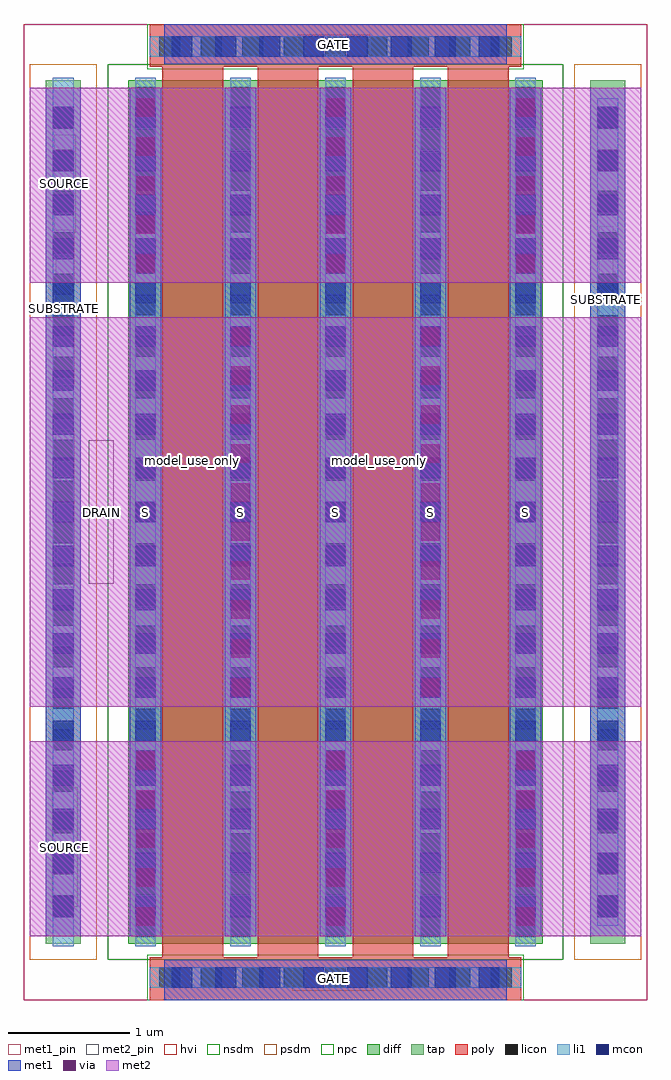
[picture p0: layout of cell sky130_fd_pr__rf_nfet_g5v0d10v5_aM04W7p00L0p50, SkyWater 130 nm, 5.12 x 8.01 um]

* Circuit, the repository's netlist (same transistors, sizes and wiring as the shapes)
* Copyright 2020 The SkyWater PDK Authors
*
* Licensed under the Apache License, Version 2.0 (the "License");
* you may not use this file except in compliance with the License.
* You may obtain a copy of the License at
*
*     https://www.apache.org/licenses/LICENSE-2.0
*
* Unless required by applicable law or agreed to in writing, software
* distributed under the License is distributed on an "AS IS" BASIS,
* WITHOUT WARRANTIES OR CONDITIONS OF ANY KIND, either express or implied.
* See the License for the specific language governing permissions and
* limitations under the License.
*
* SPDX-License-Identifier: Apache-2.0


.subckt sky130_fd_pr__rf_nfet_g5v0d10v5_aM04W7p00L0p50 DRAIN GATE SOURCE SUBSTRATE
X0 DRAIN GATE SOURCE SUBSTRATE sky130_fd_pr__nfet_g5v0d10v5 w=7.09e+06u l=500000u
X1 DRAIN GATE SOURCE SUBSTRATE sky130_fd_pr__nfet_g5v0d10v5 w=7.09e+06u l=500000u
X2 SOURCE GATE DRAIN SUBSTRATE sky130_fd_pr__nfet_g5v0d10v5 w=7.09e+06u l=500000u
X3 SOURCE GATE DRAIN SUBSTRATE sky130_fd_pr__nfet_g5v0d10v5 w=7.09e+06u l=500000u
.ends

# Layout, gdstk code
import gdstk
lib = gdstk.Library(unit=1e-6, precision=1e-09)
def R(c, l, rs):  # rectangles x0, y0, x1, y1
    for r in rs: c.add(gdstk.rectangle(r[:2], r[2:], *l))
def A(c, l, x, y, w, h, nx, ny, dx, dy):  # array of equal rectangles
    R(c, l, [(x+i*dx, y+j*dy, x+i*dx+w, y+j*dy+h) for i in range(nx) for j in range(ny)])
diff = (65, 20)
tap = (65, 44)
poly = (66, 20)
licon = (66, 44)
li1 = (67, 20)
mcon = (67, 44)
met1_pin = (68, 16)
met1 = (68, 20)
via = (68, 44)
met2_pin = (69, 16)
met2 = (69, 20)
hvi = (75, 20)
nsdm = (93, 44)
psdm = (94, 20)
npc = (95, 20)

sky130_fd_pr__rf_nfet_g5 = lib.new_cell('sky130_fd_pr__rf_nfet_g5v0d10v5_aM04W7p00L0p50')
R(sky130_fd_pr__rf_nfet_g5, diff, [(0.86,0.46,4.26,7.55)])
R(sky130_fd_pr__rf_nfet_g5, tap, [(0.18,0.46,0.47,7.55), (4.65,0.46,4.94,7.55)])
A(sky130_fd_pr__rf_nfet_g5, poly, 1.14, 0.35, 0.5, 7.31, 4, 1, 0.78, 0)
R(sky130_fd_pr__rf_nfet_g5, poly, [(1.035,0,4.085,0.35), (1.035,7.66,4.085,8.01)])
A(sky130_fd_pr__rf_nfet_g5, licon, 1.115, 0.1, 0.17, 0.17, 9, 2, 0.34, 7.64)
A(sky130_fd_pr__rf_nfet_g5, licon, 0.915, 0.52, 0.17, 0.17, 5, 21, 0.78, 0.34)
A(sky130_fd_pr__rf_nfet_g5, licon, 0.24, 0.69, 0.17, 0.17, 1, 20, 0, 0.34)
A(sky130_fd_pr__rf_nfet_g5, licon, 4.71, 0.69, 0.17, 0.17, 1, 20, 0, 0.34)
A(sky130_fd_pr__rf_nfet_g5, li1, 0.915, 0.44, 0.17, 7.13, 5, 1, 0.78, 0)
A(sky130_fd_pr__rf_nfet_g5, li1, 0.915, 2.66, 0.17, 2.69, 5, 1, 0.78, 0)
R(sky130_fd_pr__rf_nfet_g5, li1, [(1.035,0.1,4.085,0.27), (1.215,0.1,3.905,0.27), (0.24,0.44,0.41,7.57), (0.24,0.61,0.41,7.4), (4.71,0.61,4.88,7.4), (4.71,0.61,4.88,7.4), (0.24,2.65,0.41,5.36), (4.71,2.65,4.88,5.36), (4.71,2.65,4.88,5.36), (0.24,2.66,0.41,5.35), (4.71,2.66,4.88,5.35), (1.035,7.74,4.085,7.91), (1.215,7.74,3.905,7.91)])
A(sky130_fd_pr__rf_nfet_g5, mcon, 1.215, 0.1, 0.17, 0.17, 8, 2, 0.36, 7.64)
A(sky130_fd_pr__rf_nfet_g5, mcon, 0.24, 0.68, 0.17, 0.17, 1, 19, 0, 0.36)
A(sky130_fd_pr__rf_nfet_g5, mcon, 0.915, 0.68, 0.17, 0.17, 5, 19, 0.78, 0.36)
A(sky130_fd_pr__rf_nfet_g5, mcon, 4.71, 0.68, 0.17, 0.17, 1, 19, 0, 0.36)
R(sky130_fd_pr__rf_nfet_g5, met1_pin, [(2.205,0.075,2.875,0.27), (2.205,0.075,2.875,0.27), (0.265,3.385,0.415,4.67), (4.72,3.49,4.84,4.7), (0.265,5.035,0.415,6.32), (4.72,5.14,4.84,6.35), (2.245,7.755,2.845,7.92), (2.245,7.755,2.845,7.92)])
A(sky130_fd_pr__rf_nfet_g5, met1, 0.87, 0.525, 0.26, 1.6, 3, 2, 1.56, 5.36)
A(sky130_fd_pr__rf_nfet_g5, met1, 0.87, 0.525, 0.26, 6.96, 5, 1, 0.78, 0)
R(sky130_fd_pr__rf_nfet_g5, met1, [(1.155,0,3.965,0.33), (0.18,0.525,0.47,7.485), (4.65,0.525,4.94,7.485), (1.155,7.68,3.965,8.01)])
A(sky130_fd_pr__rf_nfet_g5, via, 0.925, 0.61, 0.15, 0.15, 3, 5, 1.56, 0.32)
A(sky130_fd_pr__rf_nfet_g5, via, 1.705, 2.49, 0.15, 0.15, 1, 10, 0, 0.32)
A(sky130_fd_pr__rf_nfet_g5, via, 3.265, 2.49, 0.15, 0.15, 1, 10, 0, 0.32)
A(sky130_fd_pr__rf_nfet_g5, via, 0.925, 5.97, 0.15, 0.15, 3, 5, 1.56, 0.32)
R(sky130_fd_pr__rf_nfet_g5, met2_pin, [(0.235,0.765,0.445,1.745), (0.235,0.765,0.445,1.745), (0.535,3.415,0.74,4.595), (0.535,3.415,0.74,4.595), (0.25,6.295,0.43,7.1), (0.25,6.295,0.43,7.1)])
A(sky130_fd_pr__rf_nfet_g5, met2, 0.87, 0.525, 0.26, 1.6, 3, 2, 1.56, 5.36)
R(sky130_fd_pr__rf_nfet_g5, met2, [(0.05,0.525,5.07,2.125), (0.05,2.405,5.07,5.605), (0.05,5.885,5.07,7.485)])
R(sky130_fd_pr__rf_nfet_g5, hvi, [(0,0,5.12,8.01)])
R(sky130_fd_pr__rf_nfet_g5, nsdm, [(0.69,0.33,4.43,7.68)])
R(sky130_fd_pr__rf_nfet_g5, psdm, [(0.05,0.33,0.6,7.68), (4.52,0.33,5.07,7.68)])
R(sky130_fd_pr__rf_nfet_g5, npc, [(1.015,0,4.105,0.37), (1.015,7.64,4.105,8.01)])
sky130_fd_pr__rf_nfet_g5.add(gdstk.Label('S', (4.12,4.005), layer=83, texttype=44))
sky130_fd_pr__rf_nfet_g5.add(gdstk.Label('S', (3.34,4.005), layer=83, texttype=44))
sky130_fd_pr__rf_nfet_g5.add(gdstk.Label('D', (3.34,4.005), layer=83, texttype=44))
sky130_fd_pr__rf_nfet_g5.add(gdstk.Label('S', (2.56,4.005), layer=83, texttype=44))
sky130_fd_pr__rf_nfet_g5.add(gdstk.Label('S', (2.56,4.005), layer=83, texttype=44))
sky130_fd_pr__rf_nfet_g5.add(gdstk.Label('S', (1.78,4.005), layer=83, texttype=44))
sky130_fd_pr__rf_nfet_g5.add(gdstk.Label('D', (1.78,4.005), layer=83, texttype=44))
sky130_fd_pr__rf_nfet_g5.add(gdstk.Label('S', (1,4.005), layer=83, texttype=44))
sky130_fd_pr__rf_nfet_g5.add(gdstk.Label('S', (1,4.005), layer=83, texttype=44))
sky130_fd_pr__rf_nfet_g5.add(gdstk.Label('model_use_only', (1.385,4.43), layer=66, texttype=83))
sky130_fd_pr__rf_nfet_g5.add(gdstk.Label('model_use_only', (2.16,4.475), layer=66, texttype=83))
sky130_fd_pr__rf_nfet_g5.add(gdstk.Label('model_use_only', (2.92,4.43), layer=66, texttype=83))
sky130_fd_pr__rf_nfet_g5.add(gdstk.Label('model_use_only', (3.695,4.49), layer=66, texttype=83))
sky130_fd_pr__rf_nfet_g5.add(gdstk.Label('GATE', (2.545,7.838), layer=68, texttype=5))
sky130_fd_pr__rf_nfet_g5.add(gdstk.Label('GATE', (2.54,0.173), layer=68, texttype=5))
sky130_fd_pr__rf_nfet_g5.add(gdstk.Label('SUBSTRATE', (0.34,5.678), layer=68, texttype=5))
sky130_fd_pr__rf_nfet_g5.add(gdstk.Label('SUBSTRATE', (4.78,5.745), layer=68, texttype=5))
sky130_fd_pr__rf_nfet_g5.add(gdstk.Label('DRAIN', (0.638,4.005), layer=69, texttype=5))
sky130_fd_pr__rf_nfet_g5.add(gdstk.Label('SOURCE', (0.34,6.698), layer=69, texttype=5))
sky130_fd_pr__rf_nfet_g5.add(gdstk.Label('SOURCE', (0.34,1.255), layer=69, texttype=5))

lib.write_gds('sky130_fd_pr__rf_nfet_g5v0d10v5_aM04W7p00L0p50.gds')
